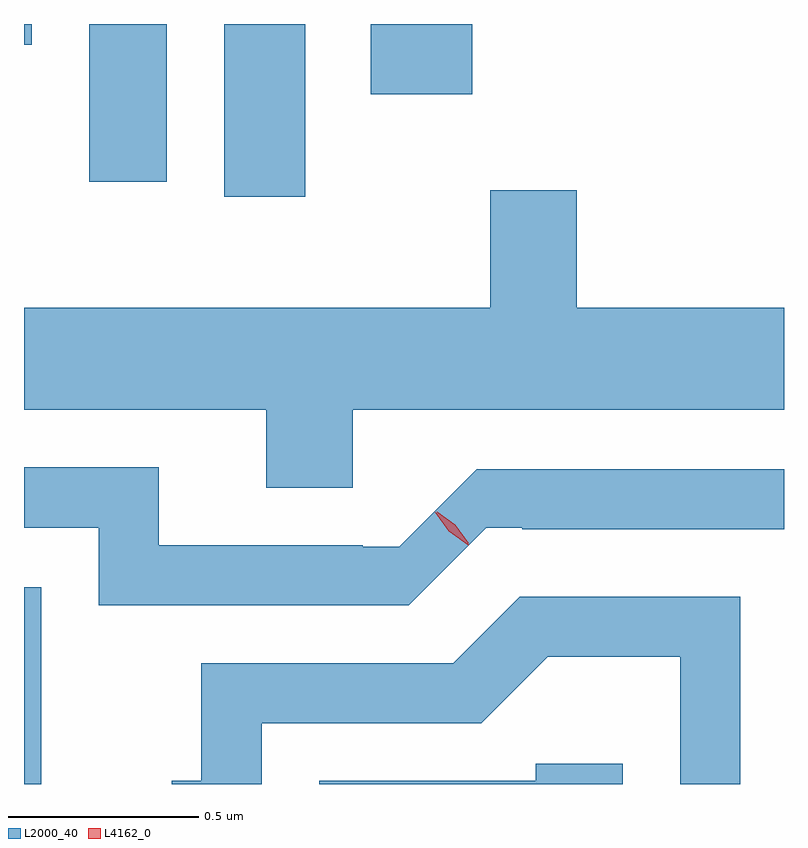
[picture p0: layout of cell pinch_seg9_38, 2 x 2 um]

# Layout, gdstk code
import gdstk
lib = gdstk.Library(unit=1e-6, precision=1e-09)
def R(c, l, rs):  # rectangles x0, y0, x1, y1
    for r in rs: c.add(gdstk.rectangle(r[:2], r[2:], *l))
def P(c, l, *ps):  # polygons
    for p in ps: c.add(gdstk.Polygon(p, *l))
L2000_40 = (2000, 40)
L4162_0 = (4162, 0)

pinch_seg9_38 = lib.new_cell('pinch_seg9_38')
R(pinch_seg9_38, L2000_40, [(858.184,2044.111,858.229,2044.629), (858.711,2045.656,858.924,2046.111), (858.356,2045.696,858.559,2046.111), (859.096,2045.926,859.364,2046.111), (858.184,2046.056,858.204,2046.111)])
P(pinch_seg9_38, L2000_40, [(859.049,2045.096),(860.184,2045.096),(860.184,2045.364),(859.639,2045.364),(859.639,2045.674),(859.411,2045.674),(859.411,2045.364),(858.184,2045.364),(858.184,2045.096),(858.821,2045.096),(858.821,2044.891),(859.049,2044.891)],
  [(859.401,2044.785),(859.495,2044.785),(859.495,2044.781),(860.184,2044.781),(860.184,2044.939),(859.375,2044.939),(859.171,2044.735),(859.076,2044.735),(859.076,2044.739),(858.539,2044.739),(858.539,2044.944),(858.184,2044.944),(858.184,2044.786),(858.381,2044.786),(858.381,2044.581),(859.197,2044.581)],
  [(858.809,2044.271),(859.387,2044.271),(859.562,2044.446),(859.911,2044.446),(859.911,2044.111),(860.069,2044.111),(860.069,2044.604),(859.489,2044.604),(859.314,2044.429),(858.651,2044.429),(858.651,2044.119),(858.573,2044.119),(858.573,2044.111),(858.809,2044.111)],
  [(859.759,2044.164),(859.531,2044.164),(859.531,2044.119),(858.961,2044.119),(858.961,2044.111),(859.759,2044.111)])
P(pinch_seg9_38, L4162_0, [(859.353,2044.739),(859.302,2044.776),(859.265,2044.827),(859.265,2044.828),(859.265,2044.828),(859.316,2044.79),(859.354,2044.74),(859.354,2044.739)],
  [(859.353,2044.744),(859.305,2044.779),(859.27,2044.827),(859.27,2044.828),(859.271,2044.828),(859.319,2044.793),(859.354,2044.745),(859.354,2044.744)])

lib.write_gds('pinch_seg9_38.gds')
